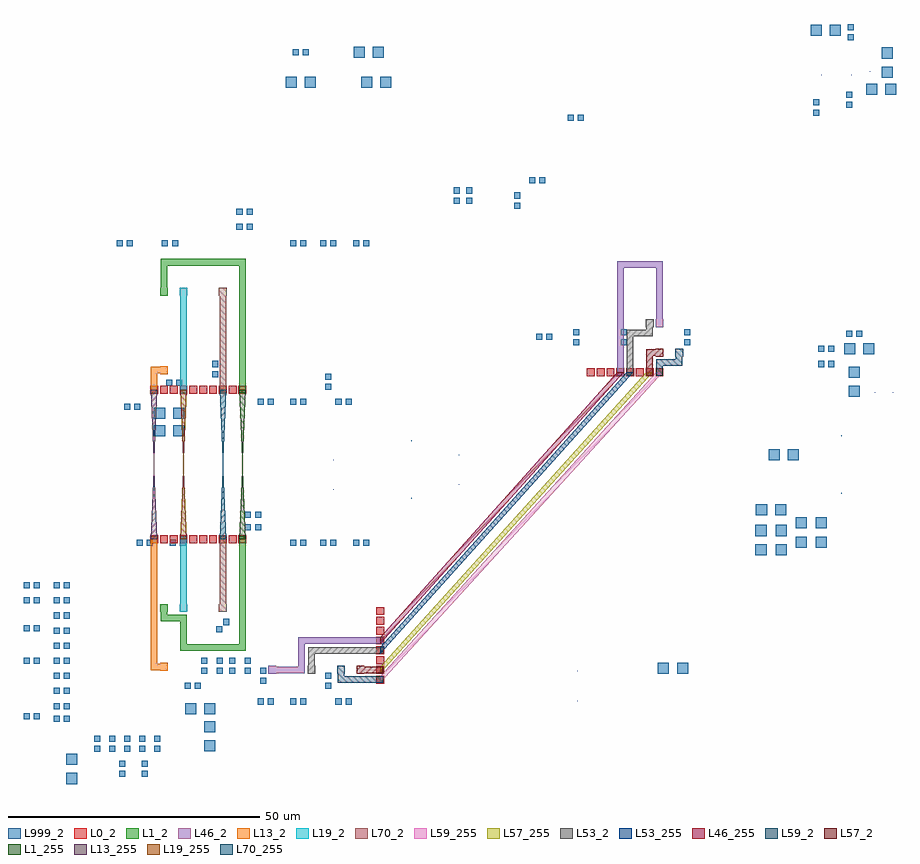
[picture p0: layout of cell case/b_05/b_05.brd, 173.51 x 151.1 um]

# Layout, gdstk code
import gdstk
lib = gdstk.Library(unit=1e-6, precision=2.5e-10)
def R(c, l, rs):  # rectangles x0, y0, x1, y1
    for r in rs: c.add(gdstk.rectangle(r[:2], r[2:], *l))
def A(c, l, x, y, w, h, nx, ny, dx, dy):  # array of equal rectangles
    R(c, l, [(x+i*dx, y+j*dy, x+i*dx+w, y+j*dy+h) for i in range(nx) for j in range(ny)])
def P(c, l, *ps):  # polygons
    for p in ps: c.add(gdstk.Polygon(p, *l))
L0_2 = (0, 2)
L1_2 = (1, 2)
L1_255 = (1, 255)
L13_2 = (13, 2)
L13_255 = (13, 255)
L19_2 = (19, 2)
L19_255 = (19, 255)
L46_2 = (46, 2)
L46_255 = (46, 255)
L53_2 = (53, 2)
L53_255 = (53, 255)
L57_2 = (57, 2)
L57_255 = (57, 255)
L59_2 = (59, 2)
L59_255 = (59, 255)
L70_2 = (70, 2)
L70_255 = (70, 255)
L999_2 = (999, 2)

case_b_05_b_05_brd = lib.new_cell('case/b_05/b_05.brd')
R(case_b_05_b_05_brd, L0_2, [(516.107,201.269,517.667,202.829), (516.107,201.269,517.667,202.829), (516.107,201.269,517.667,202.829), (516.107,201.269,517.667,202.829), (516.107,203.219,517.667,204.779), (516.107,203.219,517.667,204.779), (516.107,203.219,517.667,204.779), (516.107,203.219,517.667,204.779), (516.107,205.169,517.667,206.729), (516.107,205.169,517.667,206.729), (516.107,205.169,517.667,206.729), (516.107,205.169,517.667,206.729), (516.107,207.119,517.667,208.679), (516.107,207.119,517.667,208.679), (516.107,207.119,517.667,208.679), (516.107,207.119,517.667,208.679), (516.107,209.069,517.667,210.629), (516.107,209.069,517.667,210.629), (516.107,209.069,517.667,210.629), (516.107,209.069,517.667,210.629), (516.107,211.019,517.667,212.579), (516.107,211.019,517.667,212.579), (516.107,211.019,517.667,212.579), (516.107,211.019,517.667,212.579), (516.107,212.969,517.667,214.529), (516.107,212.969,517.667,214.529), (516.107,212.969,517.667,214.529), (516.107,212.969,517.667,214.529), (516.107,214.919,517.667,216.479), (516.107,214.919,517.667,216.479), (516.107,214.919,517.667,216.479), (516.107,214.919,517.667,216.479), (471.162,229.166,472.722,230.726), (471.162,229.166,472.722,230.726), (471.162,229.166,472.722,230.726), (471.162,229.166,472.722,230.726), (473.112,229.166,474.672,230.726), (473.112,229.166,474.672,230.726), (473.112,229.166,474.672,230.726), (473.112,229.166,474.672,230.726), (475.062,229.166,476.622,230.726), (475.062,229.166,476.622,230.726), (475.062,229.166,476.622,230.726), (475.062,229.166,476.622,230.726), (477.012,229.166,478.572,230.726), (477.012,229.166,478.572,230.726), (477.012,229.166,478.572,230.726), (477.012,229.166,478.572,230.726), (478.962,229.166,480.522,230.726), (478.962,229.166,480.522,230.726), (478.962,229.166,480.522,230.726), (478.962,229.166,480.522,230.726), (480.912,229.166,482.472,230.726), (480.912,229.166,482.472,230.726), (480.912,229.166,482.472,230.726), (480.912,229.166,482.472,230.726), (482.862,229.166,484.422,230.726), (482.862,229.166,484.422,230.726), (482.862,229.166,484.422,230.726), (482.862,229.166,484.422,230.726), (484.812,229.166,486.372,230.726), (484.812,229.166,486.372,230.726), (484.812,229.166,486.372,230.726), (484.812,229.166,486.372,230.726), (486.762,229.166,488.322,230.726), (486.762,229.166,488.322,230.726), (486.762,229.166,488.322,230.726), (486.762,229.166,488.322,230.726), (488.712,229.166,490.272,230.726), (488.712,229.166,490.272,230.726), (488.712,229.166,490.272,230.726), (488.712,229.166,490.272,230.726), (471.163,258.919,472.723,260.479), (471.163,258.919,472.723,260.479), (471.163,258.919,472.723,260.479), (471.163,258.919,472.723,260.479), (473.113,258.919,474.673,260.479), (473.113,258.919,474.673,260.479), (473.113,258.919,474.673,260.479), (473.113,258.919,474.673,260.479), (475.063,258.919,476.623,260.479), (475.063,258.919,476.623,260.479), (475.063,258.919,476.623,260.479), (475.063,258.919,476.623,260.479), (477.013,258.919,478.573,260.479), (477.013,258.919,478.573,260.479), (477.013,258.919,478.573,260.479), (477.013,258.919,478.573,260.479), (478.963,258.919,480.523,260.479), (478.963,258.919,480.523,260.479), (478.963,258.919,480.523,260.479), (478.963,258.919,480.523,260.479), (480.913,258.919,482.473,260.479), (480.913,258.919,482.473,260.479), (480.913,258.919,482.473,260.479), (480.913,258.919,482.473,260.479), (482.863,258.919,484.423,260.479), (482.863,258.919,484.423,260.479), (482.863,258.919,484.423,260.479), (482.863,258.919,484.423,260.479), (484.813,258.919,486.373,260.479), (484.813,258.919,486.373,260.479), (484.813,258.919,486.373,260.479), (484.813,258.919,486.373,260.479), (486.763,258.919,488.323,260.479), (486.763,258.919,488.323,260.479), (486.763,258.919,488.323,260.479), (486.763,258.919,488.323,260.479), (488.713,258.919,490.273,260.479), (488.713,258.919,490.273,260.479), (488.713,258.919,490.273,260.479), (488.713,258.919,490.273,260.479), (557.993,262.389,559.553,263.949), (557.993,262.389,559.553,263.949), (557.993,262.389,559.553,263.949), (557.993,262.389,559.553,263.949), (559.943,262.389,561.503,263.949), (559.943,262.389,561.503,263.949), (559.943,262.389,561.503,263.949), (559.943,262.389,561.503,263.949), (561.893,262.389,563.453,263.949), (561.893,262.389,563.453,263.949), (561.893,262.389,563.453,263.949), (561.893,262.389,563.453,263.949), (563.843,262.389,565.403,263.949), (563.843,262.389,565.403,263.949), (563.843,262.389,565.403,263.949), (563.843,262.389,565.403,263.949), (565.793,262.389,567.353,263.949), (565.793,262.389,567.353,263.949), (565.793,262.389,567.353,263.949), (565.793,262.389,567.353,263.949), (567.743,262.389,569.303,263.949), (567.743,262.389,569.303,263.949), (567.743,262.389,569.303,263.949), (567.743,262.389,569.303,263.949), (569.693,262.389,571.253,263.949), (569.693,262.389,571.253,263.949), (569.693,262.389,571.253,263.949), (569.693,262.389,571.253,263.949), (571.643,262.389,573.203,263.949), (571.643,262.389,573.203,263.949), (571.643,262.389,573.203,263.949), (571.643,262.389,573.203,263.949)])
A(case_b_05_b_05_brd, L1_2, 477.142, 207.846, 3.25, 1.3, 6, 1, 1.95, 0)
A(case_b_05_b_05_brd, L1_2, 477.142, 207.846, 1.3, 3.25, 1, 3, 0, 1.95)
A(case_b_05_b_05_brd, L1_2, 488.842, 207.846, 1.3, 3.25, 1, 11, 0, 1.95)
A(case_b_05_b_05_brd, L1_2, 488.843, 259.049, 1.3, 3.25, 1, 13, 0, 1.95)
A(case_b_05_b_05_brd, L1_2, 473.243, 278.549, 1.3, 3.25, 1, 3, 0, 1.95)
A(case_b_05_b_05_brd, L1_2, 473.243, 284.399, 3.25, 1.3, 8, 1, 1.95, 0)
R(case_b_05_b_05_brd, L1_2, [(473.242,213.696,476.492,214.996), (473.242,213.696,474.542,216.946), (475.192,213.696,478.442,214.996), (473.112,215.516,474.672,217.076), (473.113,278.419,474.673,279.979)])
P(case_b_05_b_05_brd, L1_255, [(488.843,259.699),(490.143,259.699),(488.842,229.946),(490.142,229.946)])
A(case_b_05_b_05_brd, L13_2, 471.292, 203.946, 1.3, 3.25, 1, 13, 0, 1.95)
R(case_b_05_b_05_brd, L13_2, [(473.112,203.816,474.672,205.376), (471.292,203.946,474.542,205.246), (471.293,259.049,472.593,262.299), (471.293,260.999,472.593,264.249), (473.113,262.819,474.673,264.379), (471.293,262.949,474.543,264.249)])
P(case_b_05_b_05_brd, L13_255, [(471.293,259.699),(472.593,259.699),(471.292,229.946),(472.592,229.946)])
A(case_b_05_b_05_brd, L19_2, 477.142, 215.646, 1.3, 3.25, 1, 7, 0, 1.95)
A(case_b_05_b_05_brd, L19_2, 477.143, 259.049, 1.3, 3.25, 1, 10, 0, 1.95)
R(case_b_05_b_05_brd, L19_2, [(477.012,215.516,478.572,217.076), (477.013,278.419,478.573,279.979)])
P(case_b_05_b_05_brd, L19_255, [(477.143,259.699),(478.443,259.699),(477.142,229.946),(478.442,229.946)])
A(case_b_05_b_05_brd, L46_2, 494.787, 203.349, 3.25, 1.3, 3, 1, 1.95, 0)
A(case_b_05_b_05_brd, L46_2, 500.637, 203.349, 1.3, 3.25, 1, 3, 0, 1.95)
A(case_b_05_b_05_brd, L46_2, 500.637, 209.199, 3.25, 1.3, 8, 1, 1.95, 0)
A(case_b_05_b_05_brd, L46_2, 563.973, 262.519, 1.3, 3.25, 1, 11, 0, 1.95)
A(case_b_05_b_05_brd, L46_2, 571.773, 272.269, 1.3, 3.25, 1, 6, 0, 1.95)
A(case_b_05_b_05_brd, L46_2, 563.973, 283.969, 3.25, 1.3, 4, 1, 1.95, 0)
R(case_b_05_b_05_brd, L46_2, [(494.657,203.219,496.217,204.779), (571.643,272.139,573.203,273.699)])
P(case_b_05_b_05_brd, L46_255, [(563.973,263.169),(565.273,263.169),(516.887,209.199),(516.887,210.499)])
A(case_b_05_b_05_brd, L53_2, 502.587, 207.249, 3.25, 1.3, 7, 1, 1.95, 0)
A(case_b_05_b_05_brd, L53_2, 565.923, 262.519, 1.3, 3.25, 1, 4, 0, 1.95)
R(case_b_05_b_05_brd, L53_2, [(502.457,203.219,504.017,204.779), (502.587,203.349,503.887,206.599), (502.587,205.299,503.887,208.549), (565.923,270.319,569.173,271.619), (567.873,270.319,571.123,271.619), (569.823,270.319,571.123,273.569), (569.693,272.139,571.253,273.699)])
P(case_b_05_b_05_brd, L53_255, [(565.923,263.169),(567.223,263.169),(516.887,207.249),(516.887,208.549)])
R(case_b_05_b_05_brd, L57_2, [(512.207,203.219,513.767,204.779), (512.337,203.349,515.587,204.649), (514.287,203.349,517.537,204.649), (569.823,262.519,571.123,265.769), (569.823,264.469,571.123,267.719), (571.643,266.289,573.203,267.849), (569.823,266.419,573.073,267.719)])
P(case_b_05_b_05_brd, L57_255, [(569.823,263.169),(571.123,263.169),(516.887,203.349),(516.887,204.649)])
A(case_b_05_b_05_brd, L59_2, 508.437, 201.399, 3.25, 1.3, 4, 1, 1.95, 0)
R(case_b_05_b_05_brd, L59_2, [(508.437,201.399,509.737,204.649), (508.307,203.219,509.867,204.779), (571.773,262.519,573.073,265.769), (571.773,264.469,575.023,265.769), (573.723,264.469,576.973,265.769), (575.673,264.469,576.973,267.719), (575.543,266.289,577.103,267.849)])
P(case_b_05_b_05_brd, L59_255, [(571.773,263.169),(573.073,263.169),(516.887,201.399),(516.887,202.699)])
A(case_b_05_b_05_brd, L70_2, 484.942, 215.646, 1.3, 3.25, 1, 7, 0, 1.95)
A(case_b_05_b_05_brd, L70_2, 484.943, 259.049, 1.3, 3.25, 1, 10, 0, 1.95)
R(case_b_05_b_05_brd, L70_2, [(484.812,215.516,486.372,217.076), (484.813,278.419,486.373,279.979)])
P(case_b_05_b_05_brd, L70_255, [(484.943,259.699),(486.243,259.699),(484.942,229.946),(486.242,229.946)])
A(case_b_05_b_05_brd, L999_2, 460.002, 187.717, 1.2, 1.2, 5, 2, 3, 2)
A(case_b_05_b_05_brd, L999_2, 452.002, 196.217, 1.2, 1.2, 1, 9, 0, 3)
A(case_b_05_b_05_brd, L999_2, 454.002, 196.217, 1.2, 1.2, 1, 9, 0, 3)
R(case_b_05_b_05_brd, L999_2, [(454.502,181.317,456.702,183.517), (465.002,182.717,466.202,183.917), (469.502,182.717,470.702,183.917), (465.002,184.717,466.202,185.917), (469.502,184.717,470.702,185.917), (454.502,185.117,456.702,187.317), (481.902,187.817,484.102,190.017), (481.902,191.617,484.102,193.817), (452.002,193.717,453.202,194.917), (454.002,193.717,455.202,194.917), (446.002,194.217,447.202,195.417), (448.002,194.217,449.202,195.417), (478.102,195.217,480.302,197.417), (481.902,195.217,484.102,197.417), (492.502,197.117,493.702,198.317), (494.502,197.117,495.702,198.317), (499.002,197.117,500.202,198.317), (501.002,197.117,502.202,198.317), (508.002,197.117,509.202,198.317), (510.002,197.117,511.202,198.317), (556.054,197.816,556.149,197.911), (478.002,200.217,479.202,201.417), (480.002,200.217,481.202,201.417), (506.002,200.217,507.202,201.417), (493.002,201.217,494.202,202.417), (506.002,202.217,507.202,203.417), (481.302,203.217,482.502,204.417), (484.402,203.217,485.602,204.417), (486.902,203.217,488.102,204.417), (490.002,203.217,491.202,204.417), (493.002,203.217,494.202,204.417), (572.102,203.217,574.302,205.417), (575.902,203.217,578.102,205.417), (556.054,203.722,556.149,203.817), (446.002,205.217,447.202,206.417), (448.002,205.217,449.202,206.417), (481.302,205.217,482.502,206.417), (484.402,205.217,485.602,206.417), (486.902,205.217,488.102,206.417), (490.002,205.217,491.202,206.417), (484.295,211.51,485.495,212.71), (446.002,211.717,447.202,212.917), (448.002,211.717,449.202,212.917), (485.709,212.923,486.909,214.123), (446.002,217.217,447.202,218.417), (448.002,217.217,449.202,218.417), (446.002,220.217,447.202,221.417), (448.002,220.217,449.202,221.417), (591.502,226.817,593.702,229.017), (595.502,226.817,597.702,229.017), (599.502,228.317,601.702,230.517), (603.502,228.317,605.702,230.517), (468.502,228.717,469.702,229.917), (470.502,228.717,471.702,229.917), (475.002,228.717,476.202,229.917), (477.002,228.717,478.202,229.917), (499.002,228.717,500.202,229.917), (501.002,228.717,502.202,229.917), (505.002,228.717,506.202,229.917), (507.002,228.717,508.202,229.917), (511.502,228.717,512.702,229.917), (513.502,228.717,514.702,229.917), (591.502,230.617,593.702,232.817), (595.502,230.617,597.702,232.817), (490.002,231.717,491.202,232.917), (492.002,231.717,493.202,232.917), (599.502,232.117,601.702,234.317), (603.502,232.117,605.702,234.317), (490.002,234.217,491.202,235.417), (492.002,234.217,493.202,235.417), (591.602,234.717,593.802,236.917), (595.402,234.717,597.602,236.917), (523.017,238.023,523.187,238.192), (608.517,239.023,608.687,239.192), (507.554,239.816,507.649,239.911), (532.554,240.816,532.649,240.911), (594.102,245.717,596.302,247.917), (597.902,245.717,600.102,247.917), (507.554,245.722,507.649,245.817), (532.554,246.722,532.649,246.817), (523.017,249.441,523.187,249.611), (608.517,250.441,608.687,250.611), (471.918,250.463,474.118,252.663), (475.718,250.463,477.918,252.663), (471.918,253.963,474.118,256.163), (475.718,253.963,477.918,256.163), (466.002,255.717,467.202,256.917), (468.002,255.717,469.202,256.917), (492.502,256.717,493.702,257.917), (494.502,256.717,495.702,257.917), (499.002,256.717,500.202,257.917), (501.002,256.717,502.202,257.917), (508.002,256.717,509.202,257.917), (510.002,256.717,511.202,257.917), (610.002,258.317,612.202,260.517), (615.254,259.107,615.304,259.157), (618.798,259.107,618.848,259.157), (603.805,259.292,603.855,259.342), (607.349,259.292,607.399,259.342), (506.002,259.717,507.202,260.917), (474.318,260.463,475.518,261.663), (476.318,260.463,477.518,261.663), (506.002,261.717,507.202,262.917), (610.002,262.117,612.202,264.317), (483.502,262.217,484.702,263.417), (483.502,264.217,484.702,265.417), (604.002,264.217,605.202,265.417), (606.002,264.217,607.202,265.417), (609.102,266.717,611.302,268.917), (612.902,266.717,615.102,268.917), (604.002,267.217,605.202,268.417), (606.002,267.217,607.202,268.417), (555.302,268.517,556.502,269.717), (564.702,268.517,565.902,269.717), (577.302,268.517,578.502,269.717), (547.902,269.617,549.102,270.817), (549.902,269.617,551.102,270.817), (609.502,270.217,610.702,271.417), (611.502,270.217,612.702,271.417), (555.302,270.517,556.502,271.717), (564.702,270.517,565.902,271.717), (577.302,270.517,578.502,271.717), (464.502,288.217,465.702,289.417), (466.502,288.217,467.702,289.417), (473.502,288.217,474.702,289.417), (475.502,288.217,476.702,289.417), (499.002,288.217,500.202,289.417), (501.002,288.217,502.202,289.417), (505.002,288.217,506.202,289.417), (507.002,288.217,508.202,289.417), (511.502,288.217,512.702,289.417), (513.502,288.217,514.702,289.417), (488.318,291.463,489.518,292.663), (490.318,291.463,491.518,292.663), (488.318,294.463,489.518,295.663), (490.318,294.463,491.518,295.663), (543.502,295.717,544.702,296.917), (531.502,296.717,532.702,297.917), (534.002,296.717,535.202,297.917), (543.502,297.717,544.702,298.917), (531.502,298.717,532.702,299.917), (534.002,298.717,535.202,299.917), (546.502,300.717,547.702,301.917), (548.502,300.717,549.702,301.917), (554.202,313.217,555.402,314.417), (556.202,313.217,557.402,314.417), (603.002,314.217,604.202,315.417), (609.502,315.717,610.702,316.917), (603.002,316.217,604.202,317.417), (609.502,317.717,610.702,318.917), (613.511,318.327,615.711,320.527), (617.311,318.327,619.511,320.527), (498.102,319.717,500.302,321.917), (501.902,319.717,504.102,321.917), (513.102,319.717,515.302,321.917), (516.902,319.717,519.102,321.917), (616.584,321.754,618.784,323.954), (604.601,322.269,604.696,322.364), (610.507,322.269,610.602,322.364), (614.259,322.957,614.309,323.007), (616.584,325.554,618.784,327.754), (511.602,325.717,513.802,327.917), (515.402,325.717,517.602,327.917), (499.502,326.217,500.702,327.417), (501.502,326.217,502.702,327.417), (614.259,326.501,614.309,326.551), (609.802,329.217,611.002,330.417), (602.502,330.117,604.702,332.317), (606.302,330.117,608.502,332.317), (609.802,331.217,611.002,332.417)])

lib.write_gds('case_b_05_b_05.brd.gds')
